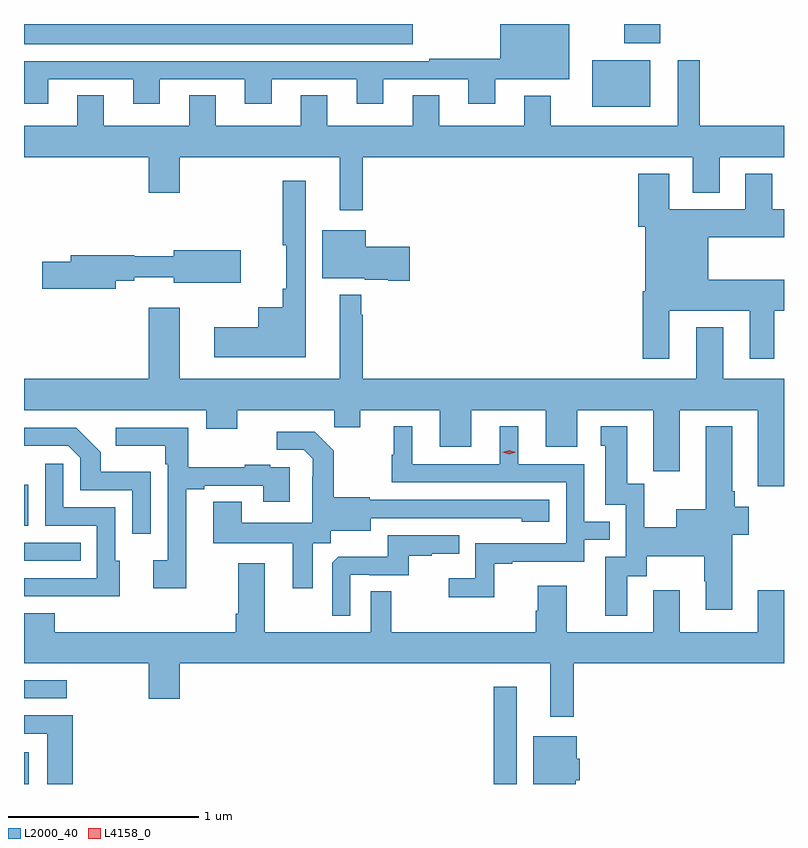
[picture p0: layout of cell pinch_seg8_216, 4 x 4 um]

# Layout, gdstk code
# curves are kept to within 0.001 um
import gdstk
lib = gdstk.Library(unit=1e-6, precision=1e-09)
def R(c, l, rs):  # rectangles x0, y0, x1, y1
    for r in rs: c.add(gdstk.rectangle(r[:2], r[2:], *l))
def P(c, l, *ps):  # polygons
    for p in ps: c.add(gdstk.Polygon(p, *l))
L2000_40 = (2000, 40)
L4158_0 = (4158, 0)

pinch_seg8_216 = lib.new_cell('pinch_seg8_216')
R(pinch_seg8_216, L2000_40, [(667.848,1103.876,667.873,1104.043), (670.32,1103.876,670.441,1104.388), (667.848,1104.327,668.074,1104.423), (667.848,1105.05,668.147,1105.146), (667.848,1105.235,667.87,1105.45), (670.838,1107.44,671.143,1107.685), (667.848,1107.77,669.895,1107.876), (671.008,1107.776,671.197,1107.876)])
P(pinch_seg8_216, L2000_40, [(667.975,1107.585),(668.423,1107.585),(668.423,1107.456),(668.563,1107.456),(668.563,1107.585),(669.011,1107.585),(669.011,1107.456),(669.151,1107.456),(669.151,1107.585),(669.599,1107.585),(669.599,1107.456),(669.739,1107.456),(669.739,1107.585),(670.187,1107.585),(670.187,1107.456),(670.327,1107.456),(670.327,1107.584),(670.717,1107.584),(670.717,1107.876),(670.355,1107.876),(670.355,1107.694),(669.982,1107.694),(669.982,1107.681),(667.848,1107.681),(667.848,1107.456),(667.975,1107.456)],
  [(669.631,1107.176),(671.369,1107.176),(671.369,1106.987),(671.509,1106.987),(671.509,1107.176),(671.848,1107.176),(671.848,1107.34),(671.405,1107.34),(671.405,1107.685),(671.288,1107.685),(671.288,1107.34),(670.621,1107.34),(670.621,1107.499),(670.481,1107.499),(670.481,1107.34),(670.033,1107.34),(670.033,1107.5),(669.893,1107.5),(669.893,1107.34),(669.445,1107.34),(669.445,1107.5),(669.305,1107.5),(669.305,1107.34),(668.857,1107.34),(668.857,1107.5),(668.717,1107.5),(668.717,1107.34),(668.269,1107.34),(668.269,1107.5),(668.129,1107.5),(668.129,1107.34),(667.848,1107.34),(667.848,1107.176),(668.504,1107.176),(668.504,1106.988),(668.668,1106.988),(668.668,1107.176),(669.509,1107.176),(669.509,1106.895),(669.631,1106.895)],
  [(671.245,1106.366),(671.669,1106.366),(671.669,1106.115),(671.797,1106.115),(671.797,1106.366),(671.848,1106.366),(671.848,1106.53),(671.449,1106.53),(671.449,1106.753),(671.848,1106.753),(671.848,1106.901),(671.785,1106.901),(671.785,1107.088),(671.645,1107.088),(671.645,1106.902),(671.245,1106.902),(671.245,1107.088),(671.081,1107.088),(671.081,1106.808),(671.117,1106.808),(671.117,1106.47),(671.105,1106.47),(671.105,1106.115),(671.245,1106.115)],
  [(669.331,1107.052),(669.21,1107.052),(669.21,1106.711),(669.227,1106.711),(669.227,1106.482),(669.21,1106.482),(669.21,1106.386),(669.08,1106.386),(669.08,1106.281),(668.85,1106.281),(668.85,1106.123),(669.331,1106.123)],
  [(669.877,1106.703),(669.646,1106.703),(669.646,1106.791),(669.419,1106.791),(669.419,1106.537),(669.642,1106.537),(669.642,1106.531),(669.764,1106.531),(669.764,1106.525),(669.877,1106.525)],
  [(668.332,1106.524),(668.428,1106.524),(668.428,1106.543),(668.636,1106.543),(668.636,1106.513),(668.989,1106.513),(668.989,1106.684),(668.636,1106.684),(668.636,1106.653),(668.428,1106.653),(668.428,1106.66),(668.093,1106.66),(668.093,1106.624),(667.944,1106.624),(667.944,1106.482),(668.332,1106.482)],
  [(671.848,1106.008),(671.527,1106.008),(671.527,1106.281),(671.387,1106.281),(671.387,1106.008),(669.631,1106.008),(669.631,1106.345),(669.623,1106.345),(669.623,1106.452),(669.509,1106.452),(669.509,1106.008),(668.668,1106.008),(668.668,1106.383),(668.504,1106.383),(668.504,1106.008),(667.848,1106.008),(667.848,1105.844),(668.807,1105.844),(668.807,1105.745),(668.971,1105.745),(668.971,1105.844),(669.481,1105.844),(669.481,1105.754),(669.619,1105.754),(669.619,1105.844),(670.037,1105.844),(670.037,1105.65),(670.201,1105.65),(670.201,1105.844),(670.595,1105.844),(670.595,1105.65),(670.759,1105.65),(670.759,1105.844),(671.159,1105.844),(671.159,1105.633),(671.16,1105.633),(671.16,1105.521),(671.299,1105.521),(671.299,1105.844),(671.711,1105.844),(671.711,1105.443),(671.848,1105.443)],
  [(671.023,1104.97),(671.125,1104.97),(671.125,1105.076),(671.428,1105.076),(671.428,1104.942),(671.435,1104.942),(671.435,1104.792),(671.575,1104.792),(671.575,1105.187),(671.662,1105.187),(671.662,1105.334),(671.588,1105.334),(671.588,1105.417),(671.575,1105.417),(671.575,1105.759),(671.435,1105.759),(671.435,1105.321),(671.282,1105.321),(671.282,1105.228),(671.112,1105.228),(671.112,1105.455),(671.023,1105.455),(671.023,1105.759),(670.883,1105.759),(670.883,1105.656),(670.907,1105.656),(670.907,1105.347),(671.016,1105.347),(671.016,1105.071),(670.907,1105.071),(670.907,1104.762),(671.023,1104.762)],
  [(670.323,1105.035),(670.417,1105.035),(670.417,1105.047),(670.797,1105.047),(670.797,1105.161),(670.931,1105.161),(670.931,1105.257),(670.797,1105.257),(670.797,1105.56),(670.45,1105.56),(670.45,1105.759),(670.352,1105.759),(670.352,1105.56),(669.892,1105.56),(669.892,1105.759),(669.794,1105.759),(669.794,1105.608),(669.783,1105.608),(669.783,1105.464),(670.701,1105.464),(670.701,1105.143),(670.224,1105.143),(670.224,1104.958),(670.083,1104.958),(670.083,1104.86),(670.323,1104.86)],
  [(668.514,1105.519),(668.253,1105.519),(668.253,1105.622),(668.122,1105.752),(667.848,1105.752),(667.848,1105.655),(668.082,1105.656),(668.145,1105.593),(668.145,1105.422),(668.418,1105.422),(668.418,1105.194),(668.514,1105.194)],
  [(668.701,1105.428),(668.797,1105.428),(668.797,1105.446),(669.107,1105.446),(669.107,1105.362),(669.247,1105.362),(669.247,1105.542),(669.143,1105.542),(669.143,1105.555),(669.011,1105.555),(669.011,1105.544),(668.713,1105.544),(668.713,1105.752),(668.331,1105.752),(668.331,1105.655),(668.592,1105.655),(668.592,1105.559),(668.604,1105.559),(668.604,1105.054),(668.529,1105.054),(668.529,1104.906),(668.701,1104.906)],
  [(669.367,1105.144),(669.462,1105.144),(669.462,1105.208),(669.673,1105.208),(669.673,1105.275),(670.467,1105.274),(670.467,1105.256),(670.612,1105.256),(670.612,1105.371),(669.669,1105.371),(669.669,1105.384),(669.477,1105.384),(669.477,1105.629),(669.377,1105.729),(669.177,1105.729),(669.177,1105.635),(669.321,1105.635),(669.368,1105.588),(669.368,1105.493),(669.366,1105.493),(669.366,1105.252),(668.995,1105.252),(668.995,1105.361),(668.843,1105.361),(668.843,1105.142),(669.263,1105.142),(669.263,1104.906),(669.367,1104.906)],
  [(668.353,1105.05),(668.328,1105.05),(668.328,1105.332),(668.055,1105.332),(668.055,1105.561),(667.959,1105.561),(667.959,1105.236),(668.232,1105.236),(668.232,1104.96),(667.848,1104.96),(667.848,1104.864),(668.135,1104.864),(668.135,1104.863),(668.353,1104.863)],
  [(669.564,1104.978),(669.664,1104.978),(669.664,1104.975),(669.872,1104.975),(669.872,1105.077),(669.995,1105.077),(669.995,1105.088),(670.139,1105.088),(670.139,1105.185),(669.762,1105.185),(669.762,1105.073),(669.503,1105.073),(669.471,1105.041),(669.471,1104.761),(669.564,1104.761)],
  [(670.741,1104.512),(671.848,1104.512),(671.848,1104.895),(671.711,1104.895),(671.711,1104.676),(671.299,1104.676),(671.299,1104.895),(671.159,1104.895),(671.159,1104.676),(670.705,1104.676),(670.705,1104.919),(670.553,1104.919),(670.553,1104.789),(670.541,1104.789),(670.541,1104.676),(669.781,1104.676),(669.781,1104.89),(669.672,1104.89),(669.672,1104.676),(669.115,1104.676),(669.115,1105.039),(668.975,1105.039),(668.975,1104.772),(668.963,1104.772),(668.963,1104.676),(668.011,1104.676),(668.011,1104.775),(667.848,1104.775),(667.848,1104.512),(668.504,1104.512),(668.504,1104.324),(668.668,1104.324),(668.668,1104.512),(670.619,1104.512),(670.619,1104.231),(670.741,1104.231)],
  [(668.105,1104.237),(667.848,1104.237),(667.848,1104.141),(667.97,1104.141),(667.97,1103.876),(668.105,1103.876)],
  [(670.752,1103.895),(670.774,1103.895),(670.774,1104.009),(670.756,1104.009),(670.756,1104.127),(670.529,1104.127),(670.529,1103.876),(670.752,1103.876)])
P(pinch_seg8_216, L4158_0, [(670.401,1105.612),(670.366,1105.621),(670.365,1105.622),(670.366,1105.622),(670.401,1105.632),(670.436,1105.622),(670.437,1105.622),(670.436,1105.622)])

lib.write_gds('pinch_seg8_216.gds')
